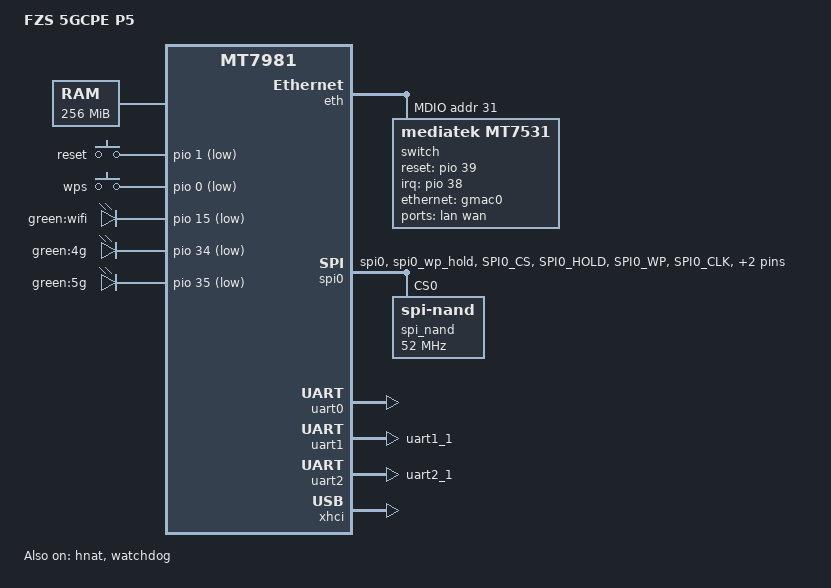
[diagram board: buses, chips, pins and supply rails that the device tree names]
// SPDX-License-Identifier: GPL-2.0-or-later OR MIT

/dts-v1/;
#include <dt-bindings/gpio/gpio.h>
#include <dt-bindings/input/input.h>
#include <dt-bindings/leds/common.h>

#include "mt7981.dtsi"

/ {
	model = "FZS 5GCPE P5";
	compatible = "fzs,5gcpe-p5", "mediatek,mt7981";

	aliases {
		serial0 = &uart0;
		led-boot = &led_wifi;
		led-failsafe = &led_wifi;
		led-running = &led_wifi;
		led-upgrade = &led_wifi;
		label-mac-device = &gmac0;
	};

	chosen {
		stdout-path = "serial0:115200n8";
	};

	memory@40000000 {
		reg = <0 0x40000000 0 0x10000000>;
	};

	gpio-keys {
		compatible = "gpio-keys";

		reset {
			label = "reset";
			linux,code = <KEY_RESTART>;
			gpios = <&pio 1 GPIO_ACTIVE_LOW>;
		};

		wps {
			label = "wps";
			linux,code = <KEY_WPS_BUTTON>;
			gpios = <&pio 0 GPIO_ACTIVE_LOW>;
		};
	};

	leds {
		compatible = "gpio-leds";

		led_wifi: wifi {
			label = "green:wifi";
			gpios = <&pio 15 GPIO_ACTIVE_LOW>;
			linux,default-trigger = "phy1tpt";
		};

		4g {
			label = "green:4g";
			gpios = <&pio 34 GPIO_ACTIVE_LOW>;
		};

		5g {
			label = "green:5g";
			gpios = <&pio 35 GPIO_ACTIVE_LOW>;
		};
	};

	nmbm_spim_nand {
		compatible = "generic,nmbm";
		#address-cells = <1>;
		#size-cells = <1>;

		lower-mtd-device = <&spi_nand>;
		forced-create;

		partitions {
			compatible = "fixed-partitions";
			#address-cells = <1>;
			#size-cells = <1>;

			partition@0 {
				label = "BL2";
				reg = <0x000000 0x0100000>;
				read-only;
			};

			partition@100000 {
				label = "u-boot-env";
				reg = <0x100000 0x0080000>;
			};

			factory: partition@180000 {
				label = "Factory";
				reg = <0x180000 0x0200000>;
				read-only;
				
				compatible = "nvmem-cells";
				nvmem-layout {
					compatible = "fixed-layout";
					#address-cells = <1>;
					#size-cells = <1>;

					macaddr_factory_2a: macaddr@2a {
						compatible = "mac-base";
						reg = <0x2a 0x6>;
						#nvmem-cell-cells = <1>;
					};

					macaddr_factory_24: macaddr@24 {
						compatible = "mac-base";
						reg = <0x24 0x6>;
						#nvmem-cell-cells = <1>;
					};
				};
			};

			partition@380000 {
				label = "FIP";
				reg = <0x380000 0x0200000>;
				read-only;
			};

			partition@580000 {
				label = "ubi";
				reg = <0x580000 0x7000000>;
			};
		};
	};
};

&eth {
	status = "okay";

	gmac0: mac@0 {
		compatible = "mediatek,eth-mac";
		reg = <0>;
		phy-mode = "2500base-x";
		
		nvmem-cells = <&macaddr_factory_2a>;
		nvmem-cell-names = "mac-address";

		fixed-link {
			speed = <2500>;
			full-duplex;
			pause;
		};
	};

	mdio: mdio-bus {
		#address-cells = <1>;
		#size-cells = <0>;

		switch: switch@1f {
			compatible = "mediatek,mt7531";
			reg = <31>;
			reset-gpios = <&pio 39 GPIO_ACTIVE_HIGH>;
			interrupt-parent = <&pio>;
			interrupts = <38 IRQ_TYPE_LEVEL_HIGH>;

			ports {
				#address-cells = <1>;
				#size-cells = <0>;

				port@2 {
					reg = <2>;
					label = "lan";
				};

				port@3 {
					reg = <3>;
					label = "wan";
					nvmem-cells = <&macaddr_factory_24 0>;
					nvmem-cell-names = "mac-address";
				};

				port@6 {
					reg = <6>;
					ethernet = <&gmac0>;
					phy-mode = "2500base-x";

					fixed-link {
						speed = <2500>;
						full-duplex;
						pause;
					};
				};
			};
		};
	};
};

&hnat {
	mtketh-wan = "eth0";
	mtketh-lan = "eth0";
	mtketh-max-gmac = <2>;
	ext-devices-prefix = "wwan","usb";
	status = "okay";
};

&spi0 {
	pinctrl-names = "default";
	pinctrl-0 = <&spi0_flash_pins>;
	status = "okay";

	spi_nand: spi_nand@0 {
		#address-cells = <1>;
		#size-cells = <1>;
		compatible = "spi-nand";
		reg = <0>;

		spi-max-frequency = <52000000>;
		spi-tx-bus-width = <4>;
		spi-rx-bus-width = <4>;

		mediatek,nmbm;
		mediatek,bmt-max-ratio = <1>;
		mediatek,bmt-max-reserved-blocks = <64>;
	};
};

&pio {
	spi0_flash_pins: spi0-pins {
		mux {
			function = "spi";
			groups = "spi0", "spi0_wp_hold";
		};

		conf-pu {
			pins = "SPI0_CS", "SPI0_HOLD", "SPI0_WP";
			drive-strength = <8>;
			bias-pull-up = <0>;
		};

		conf-pd {
			pins = "SPI0_CLK", "SPI0_MOSI", "SPI0_MISO";
			drive-strength = <8>;
			bias-pull-down = <0>;
		};
	};

	uart1_pins: uart1-pins {
		mux {
			function = "uart";
			groups = "uart1_1";
		};
	};

	uart2_pins: uart2-pins {
		mux {
			function = "uart";
			groups = "uart2_1";
		};
	};
};

&uart0 {
	status = "okay";
};

&uart1 {
	pinctrl-names = "default";
	pinctrl-0 = <&uart1_pins>;
	status = "okay";
};

&uart2 {
	pinctrl-names = "default";
	pinctrl-0 = <&uart2_pins>;
	status = "okay";
};

&xhci {
	status = "okay";
};

&watchdog {
	status = "okay";
};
